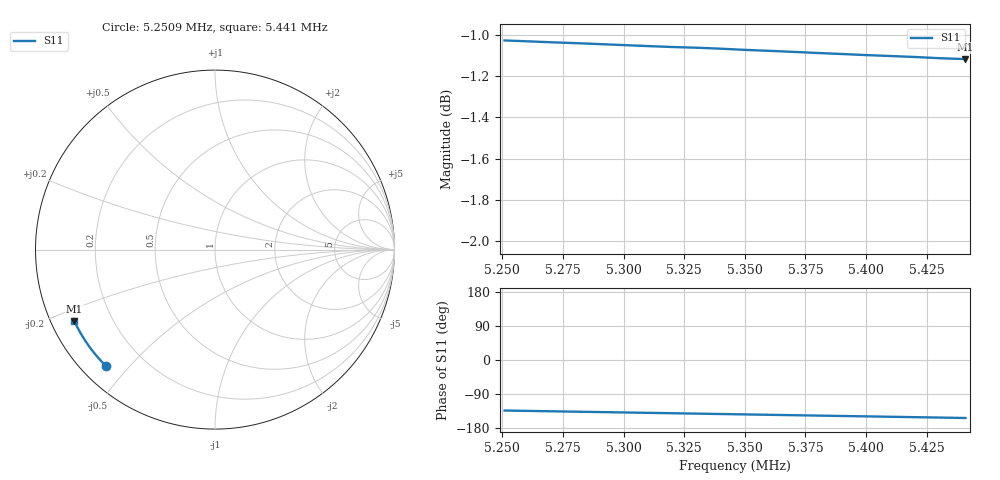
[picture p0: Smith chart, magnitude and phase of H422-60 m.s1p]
# HZ S RI R 50
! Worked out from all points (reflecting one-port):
!   20 points, 5.2509 MHz to 5.441 MHz, reference 50 ohm
!   lowest |S11| = -1.1 dB at 5.441 MHz (marker M1), VSWR 15.59, Z = 3.39 - j11.9 ohm
!   phase of S11 starts at -133 deg and turns -20 deg over the sweep
5250900  -0.61 -0.6462
5260904  -0.6212 -0.6348
5270908  -0.6322 -0.6232
5280912  -0.643 -0.6114
5290916  -0.6535 -0.5994
5300920  -0.6639 -0.5872
5310924  -0.6739 -0.5749
5320928  -0.6838 -0.5624
5330932  -0.6936 -0.5497
5340936  -0.7031 -0.5367
5350940  -0.7122 -0.5235
5360944  -0.7211 -0.5104
5370948  -0.7298 -0.4969
5380952  -0.7382 -0.4833
5390956  -0.7465 -0.4695
5400960  -0.7544 -0.4557
5410964  -0.7621 -0.4417
5420968  -0.7697 -0.4275
5430972  -0.7768 -0.4132
5440976  -0.7838 -0.3989
